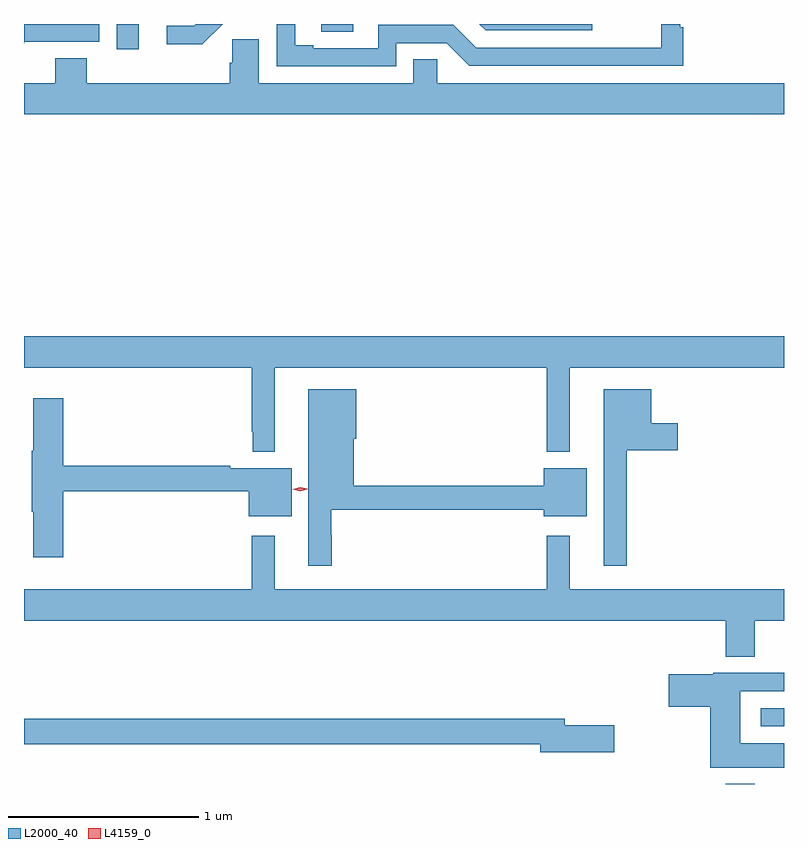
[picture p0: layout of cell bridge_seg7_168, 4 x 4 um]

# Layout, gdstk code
import gdstk
lib = gdstk.Library(unit=1e-6, precision=1e-09)
def R(c, l, rs):  # rectangles x0, y0, x1, y1
    for r in rs: c.add(gdstk.rectangle(r[:2], r[2:], *l))
def P(c, l, *ps):  # polygons
    for p in ps: c.add(gdstk.Polygon(p, *l))
L2000_40 = (2000, 40)
L4159_0 = (4159, 0)

bridge_seg7_168 = lib.new_cell('bridge_seg7_168')
R(bridge_seg7_168, L2000_40, [(459.359,1066.356,459.511,1066.357), (459.543,1066.659,459.666,1066.755), (456.153,1070.223,456.271,1070.356), (457.23,1070.314,457.4,1070.356)])
P(bridge_seg7_168, L2000_40, [(456.712,1070.356),(456.571,1070.356),(456.561,1070.346),(456.417,1070.346),(456.417,1070.249),(456.604,1070.249)],
  [(457.626,1070.256),(457.89,1070.256),(458.01,1070.136),(459.137,1070.136),(459.137,1070.339),(459.12,1070.339),(459.12,1070.356),(459.021,1070.356),(459.021,1070.232),(458.046,1070.232),(457.926,1070.352),(457.53,1070.352),(457.53,1070.229),(457.189,1070.229),(457.189,1070.244),(457.093,1070.244),(457.093,1070.356),(456.996,1070.356),(456.996,1070.133),(457.626,1070.133)],
  [(455.667,1070.262),(456.063,1070.262),(456.063,1070.356),(455.666,1070.356),(455.666,1070.255),(455.667,1070.255)],
  [(458.658,1070.356),(458.063,1070.356),(458.097,1070.322),(458.658,1070.322)],
  [(459.666,1070.044),(457.842,1070.044),(457.842,1070.171),(457.715,1070.171),(457.715,1070.044),(456.901,1070.044),(456.901,1070.276),(456.762,1070.276),(456.762,1070.153),(456.749,1070.153),(456.749,1070.044),(455.996,1070.044),(455.996,1070.177),(455.831,1070.177),(455.831,1070.044),(455.666,1070.044),(455.666,1069.88),(459.666,1069.88)],
  [(456.985,1068.548),(458.418,1068.548),(458.418,1068.104),(458.539,1068.104),(458.539,1068.548),(459.666,1068.548),(459.666,1068.712),(455.666,1068.712),(455.666,1068.548),(456.864,1068.548),(456.864,1068.211),(456.87,1068.211),(456.87,1068.104),(456.985,1068.104)],
  [(457.285,1067.666),(457.282,1067.666),(457.282,1067.799),(458.402,1067.799),(458.402,1067.765),(458.629,1067.765),(458.629,1068.019),(458.402,1068.019),(458.402,1067.927),(457.402,1067.927),(457.402,1068.174),(457.414,1068.174),(457.414,1068.433),(457.163,1068.433),(457.163,1067.505),(457.285,1067.505)],
  [(458.839,1068.113),(459.106,1068.113),(459.106,1068.255),(458.968,1068.255),(458.968,1068.433),(458.717,1068.433),(458.717,1067.505),(458.839,1067.505)],
  [(455.873,1067.896),(456.848,1067.896),(456.848,1067.765),(457.075,1067.765),(457.075,1068.019),(456.752,1068.019),(456.752,1068.032),(455.873,1068.032),(455.873,1068.385),(455.714,1068.385),(455.714,1068.109),(455.707,1068.109),(455.707,1067.788),(455.714,1067.788),(455.714,1067.55),(455.873,1067.55)],
  [(459.511,1067.216),(459.666,1067.216),(459.666,1067.38),(458.539,1067.38),(458.539,1067.662),(458.418,1067.662),(458.418,1067.38),(456.985,1067.38),(456.985,1067.662),(456.864,1067.662),(456.864,1067.38),(455.666,1067.38),(455.666,1067.216),(459.359,1067.216),(459.359,1067.026),(459.511,1067.026)],
  [(459.666,1066.57),(459.436,1066.57),(459.436,1066.845),(459.666,1066.845),(459.666,1066.941),(459.294,1066.941),(459.294,1066.933),(459.06,1066.933),(459.06,1066.763),(459.278,1066.763),(459.278,1066.442),(459.666,1066.442)],
  [(458.773,1066.664),(458.512,1066.664),(458.512,1066.7),(455.666,1066.7),(455.666,1066.564),(458.384,1066.564),(458.384,1066.522),(458.773,1066.522)])
P(bridge_seg7_168, L4159_0, [(457.119,1067.898),(457.081,1067.908),(457.081,1067.908),(457.081,1067.908),(457.119,1067.918),(457.157,1067.909),(457.157,1067.909),(457.157,1067.908)])

lib.write_gds('bridge_seg7_168.gds')
